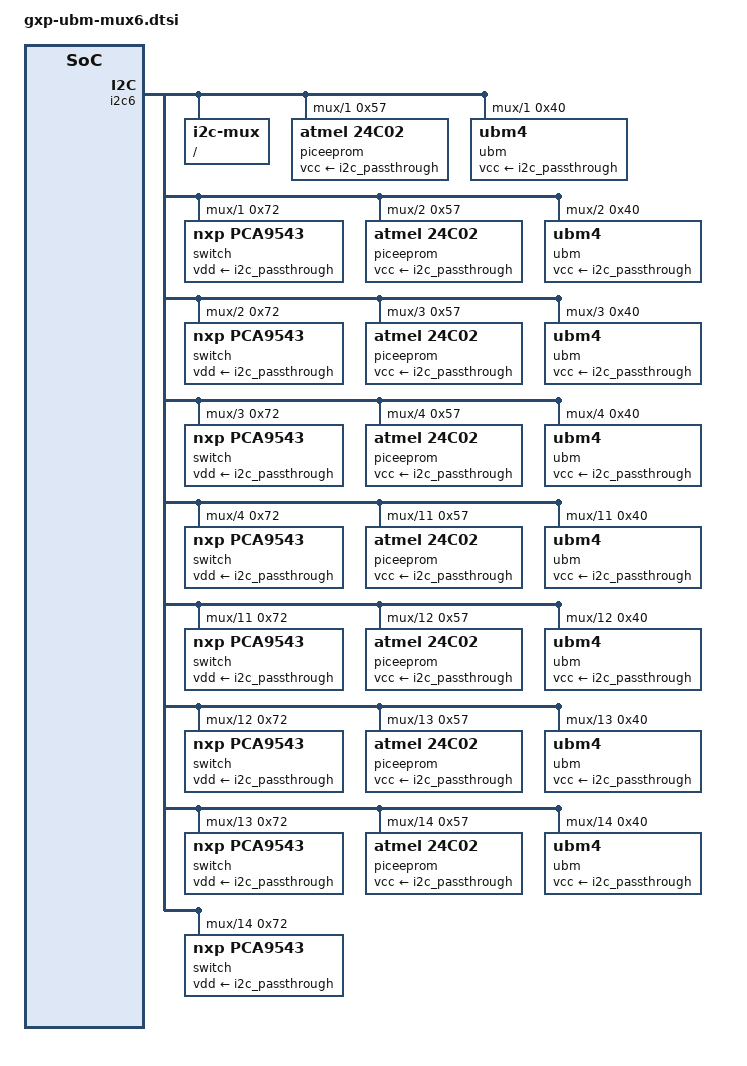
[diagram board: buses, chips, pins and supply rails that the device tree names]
// SPDX-License-Identifier: GPL-2.0-only
	i2cmux@6 {
		compatible = "i2c-mux";
		i2c-parent = <&i2c6>;
		mux-controls = <&i2c_mux_ctrl 6>;
		#address-cells = <1>;
		#size-cells = <0>;

		i2c6@1 {
			reg = <1>;
			#address-cells = <1>;
			#size-cells = <0>;

			piceeprom@57 {
				compatible = "atmel,24c02";
				reg = <0x57>;
				vcc-supply = <&i2c_passthrough>;
			};

			ubm@40 {
				compatible = "ubm4";
				reg = <0x40>;
				vcc-supply = <&i2c_passthrough>;
			};

			switch@72 {
				compatible = "nxp,pca9543";
				reg = <0x72>;
				#address-cells = <1>;
				#size-cells = <0>;
				vdd-supply = <&i2c_passthrough>;
				i2c-mux-idle-disconnect;

				i2c@0 {
					reg = <0>;
					#address-cells = <1>;
					#size-cells = <0>;
				};

				i2c@1 {
					reg = <1>;
					#address-cells = <1>;
					#size-cells = <0>;
				};
			};
		};

		i2c6@2 {
			reg = <2>;
			#address-cells = <1>;
			#size-cells = <0>;

			piceeprom@57 {
				compatible = "atmel,24c02";
				reg = <0x57>;
				vcc-supply = <&i2c_passthrough>;
			};

			ubm@40 {
				compatible = "ubm4";
				reg = <0x40>;
				vcc-supply = <&i2c_passthrough>;
			};

			switch@72 {
				compatible = "nxp,pca9543";
				reg = <0x72>;
				#address-cells = <1>;
				#size-cells = <0>;
				vdd-supply = <&i2c_passthrough>;
				i2c-mux-idle-disconnect;

				i2c@0 {
					reg = <0>;
					#address-cells = <1>;
					#size-cells = <0>;
				};

				i2c@1 {
					reg = <1>;
					#address-cells = <1>;
					#size-cells = <0>;
				};
			};
		};

		i2c6@3 {
			reg = <3>;
			#address-cells = <1>;
			#size-cells = <0>;

			piceeprom@57 {
				compatible = "atmel,24c02";
				reg = <0x57>;
				vcc-supply = <&i2c_passthrough>;
			};

			ubm@40 {
				compatible = "ubm4";
				reg = <0x40>;
				vcc-supply = <&i2c_passthrough>;
			};

			switch@72 {
				compatible = "nxp,pca9543";
				reg = <0x72>;
				#address-cells = <1>;
				#size-cells = <0>;
				vdd-supply = <&i2c_passthrough>;
				i2c-mux-idle-disconnect;

				i2c@0 {
					reg = <0>;
					#address-cells = <1>;
					#size-cells = <0>;
				};

				i2c@1 {
					reg = <1>;
					#address-cells = <1>;
					#size-cells = <0>;
				};
			};
		};

		i2c6@4 {
			reg = <4>;
			#address-cells = <1>;
			#size-cells = <0>;

			piceeprom@57 {
				compatible = "atmel,24c02";
				reg = <0x57>;
				vcc-supply = <&i2c_passthrough>;
			};

			ubm@40 {
				compatible = "ubm4";
				reg = <0x40>;
				vcc-supply = <&i2c_passthrough>;
			};

			switch@72 {
				compatible = "nxp,pca9543";
				reg = <0x72>;
				#address-cells = <1>;
				#size-cells = <0>;
				vdd-supply = <&i2c_passthrough>;
				i2c-mux-idle-disconnect;

				i2c@0 {
					reg = <0>;
					#address-cells = <1>;
					#size-cells = <0>;
				};

				i2c@1 {
					reg = <1>;
					#address-cells = <1>;
					#size-cells = <0>;
				};
			};
		};

		i2c6@b {
			reg = <0x0b>;
			#address-cells = <1>;
			#size-cells = <0>;

			piceeprom@57 {
				compatible = "atmel,24c02";
				reg = <0x57>;
				vcc-supply = <&i2c_passthrough>;
			};

			ubm@40 {
				compatible = "ubm4";
				reg = <0x40>;
				vcc-supply = <&i2c_passthrough>;
			};

			switch@72 {
				compatible = "nxp,pca9543";
				reg = <0x72>;
				#address-cells = <1>;
				#size-cells = <0>;
				vdd-supply = <&i2c_passthrough>;
				i2c-mux-idle-disconnect;

				i2c@0 {
					reg = <0>;
					#address-cells = <1>;
					#size-cells = <0>;
				};

				i2c@1 {
					reg = <1>;
					#address-cells = <1>;
					#size-cells = <0>;
				};
			};
		};

		i2c6@c {
			reg = <0x0c>;
			#address-cells = <1>;
			#size-cells = <0>;

			piceeprom@57 {
				compatible = "atmel,24c02";
				reg = <0x57>;
				vcc-supply = <&i2c_passthrough>;
			};

			ubm@40 {
				compatible = "ubm4";
				reg = <0x40>;
				vcc-supply = <&i2c_passthrough>;
			};

			switch@72 {
				compatible = "nxp,pca9543";
				reg = <0x72>;
				#address-cells = <1>;
				#size-cells = <0>;
				vdd-supply = <&i2c_passthrough>;
				i2c-mux-idle-disconnect;

				i2c@0 {
					reg = <0>;
					#address-cells = <1>;
					#size-cells = <0>;
				};

				i2c@1 {
					reg = <1>;
					#address-cells = <1>;
					#size-cells = <0>;
				};
			};
		};

		i2c6@d {
			reg = <0x0d>;
			#address-cells = <1>;
			#size-cells = <0>;

			piceeprom@57 {
				compatible = "atmel,24c02";
				reg = <0x57>;
				vcc-supply = <&i2c_passthrough>;
			};

			ubm@40 {
				compatible = "ubm4";
				reg = <0x40>;
				vcc-supply = <&i2c_passthrough>;
			};

			switch@72 {
				compatible = "nxp,pca9543";
				reg = <0x72>;
				#address-cells = <1>;
				#size-cells = <0>;
				vdd-supply = <&i2c_passthrough>;
				i2c-mux-idle-disconnect;

				i2c@0 {
					reg = <0>;
					#address-cells = <1>;
					#size-cells = <0>;
				};

				i2c@1 {
					reg = <1>;
					#address-cells = <1>;
					#size-cells = <0>;
				};
			};
		};

		i2c6@e {
			reg = <0x0e>;
			#address-cells = <1>;
			#size-cells = <0>;

			piceeprom@57 {
				compatible = "atmel,24c02";
				reg = <0x57>;
				vcc-supply = <&i2c_passthrough>;
			};

			ubm@40 {
				compatible = "ubm4";
				reg = <0x40>;
				vcc-supply = <&i2c_passthrough>;
			};

			switch@72 {
				compatible = "nxp,pca9543";
				reg = <0x72>;
				#address-cells = <1>;
				#size-cells = <0>;
				vdd-supply = <&i2c_passthrough>;
				i2c-mux-idle-disconnect;

				i2c@0 {
					reg = <0>;
					#address-cells = <1>;
					#size-cells = <0>;
				};

				i2c@1 {
					reg = <1>;
					#address-cells = <1>;
					#size-cells = <0>;
				};
			};
		};
	};
